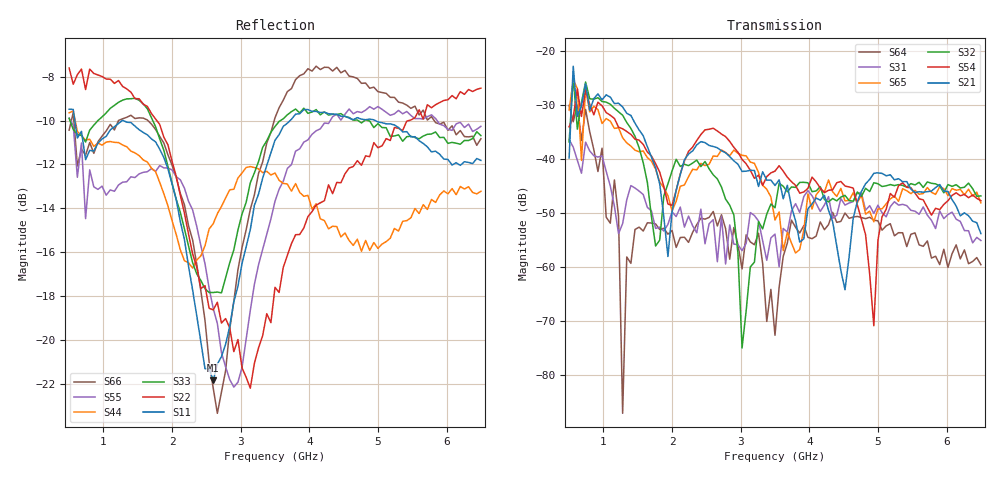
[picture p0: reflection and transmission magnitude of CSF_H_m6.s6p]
!Keysight Technologies,M9804A,MY58100912,A.14.10.03
!Date: Thursday, April 27, 2023 10:28:33
!Correction: S11(C  6-Port  )
!S12(C  6-Port  )
!S13(C  6-Port  )
!S14(C  6-Port  )
!S15(C  6-Port  )
!S16(C  6-Port  )
!S21(C  6-Port  )
!S22(C  6-Port  )
!S23(C  6-Port  )
!S24(C  6-Port  )
!S25(C  6-Port  )
!S26(C  6-Port  )
!S31(C  6-Port  )
!S32(C  6-Port  )
!S33(C  6-Port  )
!S34(C  6-Port  )
!S35(C  6-Port  )
!S36(C  6-Port  )
!S41(C  6-Port  )
!S42(C  6-Port  )
!S43(C  6-Port  )
!S44(C  6-Port  )
!S45(C  6-Port  )
!S46(C  6-Port  )
!S51(C  6-Port  )
!S52(C  6-Port  )
!S53(C  6-Port  )
!S54(C  6-Port  )
!S55(C  6-Port  )
!S56(C  6-Port  )
!S61(C  6-Port  )
!S62(C  6-Port  )
!S63(C  6-Port  )
!S64(C  6-Port  )
!S65(C  6-Port  )
!S66(C  6-Port  )
!S6P File: Measurement: :
# Hz S  RI  R 50
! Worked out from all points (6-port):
!   101 points, 500 MHz to 6.5 GHz, reference 50 ohm
!   strongest paths, dB at 500 MHz, 2 GHz, 3.5 GHz, 5 GHz, 6.5 GHz:
!     S21: -39.9, -49.9, -45.0, -42.6, -53.9
!     S54: -34.1, -48.6, -42.3, -55.1, -47.8
!     S32: -36.9, -42.3, -49.1, -44.7, -46.9
!     S65: -31.0, -49.7, -51.4, -49.3, -48.2
!     S31: -36.5, -49.9, -54.0, -48.6, -55.2
!     S64: -30.2, -53.3, -72.7, -51.5, -59.7
!   lowest |S11| = -21.8 dB at 2.6 GHz (marker M1), VSWR 1.18, Z = 42.7 + j1.92 ohm
!   |S11| at or under -10 dB: 583.2 MHz to 1.276 GHz (692.8 MHz wide, 74.5 % of centre); 1.286 GHz to 3.722 GHz (2.435 GHz wide, 97.2 % of centre); 4.96 GHz to end of sweep
